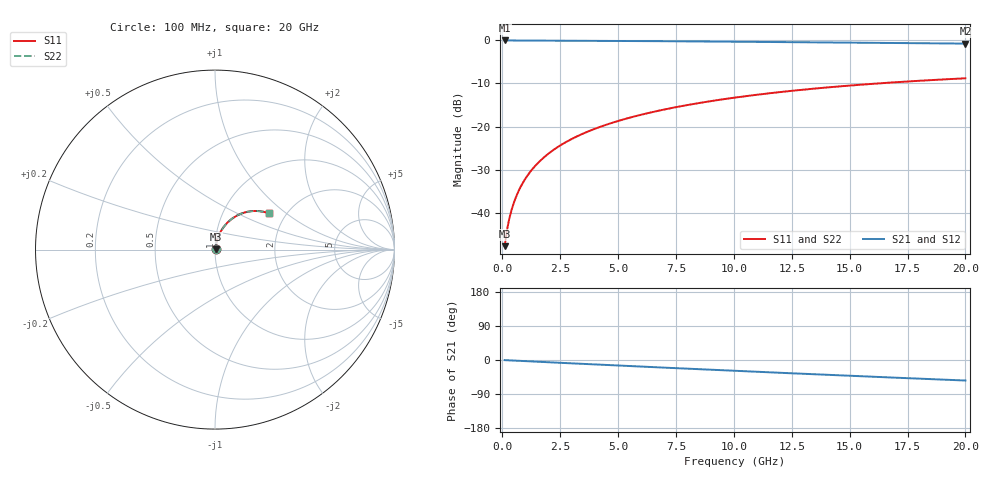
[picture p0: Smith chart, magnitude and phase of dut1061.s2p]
! Touchstone file exported from HFSS 2026.1.0
!  File:  C:/ffzhzh/LocalFiles/Ansys_Project_Files/temp_train_TMRDL_1061_1783160559_22436.aedt
!  Generated:  06:24:04 PM Jul  4, 2026
!  Design:  TMRDL
!  Project:  temp_train_TMRDL_1061_1783160559_22436
! Variables:
!  h_bsmrdl = 2um
!  h_ox = 20um
!  h_rdl = 5um
!  h_sub = 80um
!  h_tmrdl = 5.55um
!  h_tsv = 80um
!  h_via = 3um
!  l_bsmrdl = 300um
!  l_sub = 1297.97um
!  l_tmrdl = 897.97um
!  m_sub = 200um
!  pitch = 38.55um
!  r_tsv = 6um
!  s_tmrdl = 10um
!  w_bsmrdl = 18um
!  w_sub = 500um
!  w_tmrdl = 19.9um
!  x_tsv_center1 = 907.92um
!  x_tsv_center2 = 1225.92um
!  x_tsv_center3 = 2143.79um
!  x_tsv_center4 = 2461.79um
!  x_tsv_center5 = 3379.66um
!  x_tsv_center6 = 3697.66um
# GHz S MA R 50.000000
! Terminal data exported
! Port[1] = TM_RDL1_1_T1
! Port[2] = TM_RDL1_1_T2
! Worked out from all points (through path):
!   200 points, 100 MHz to 20 GHz, reference 50 ohm
!   highest |S21| = -0.03 dB at 100 MHz (marker M1); lowest = -0.8 dB at 20 GHz (marker M2)
!   group delay of S21, straight-line fit = 7.51 ps
!   lowest |S11| = -47.7 dB at 100 MHz (marker M3), VSWR 1.01, Z = 50.3 + j0.276 ohm
!   |S11| at or under -10 dB: start of sweep to 16.19 GHz
!   |S22| runs from -47.7 to -8.8 dB; largest |S21 - S12| = 1.6e-14
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0.1  0.004119 41.8  0.9969 -0.3  0.9969 -0.3  0.004119 41.8
! Gamma 0 0 0 0
! Port Impedance 50 0 50 0
0.2  0.006272 57.7  0.9967 -0.6  0.9967 -0.6  0.006272 57.7
0.3  0.008538 65.0  0.9965 -0.9  0.9965 -0.9  0.008538 65.0
0.4  0.01083 69.3  0.9963 -1.2  0.9963 -1.2  0.01083 69.3
0.5  0.01315 72.0  0.9962 -1.5  0.9962 -1.5  0.01315 72.0
0.6  0.0155 74.0  0.9961 -1.8  0.9961 -1.8  0.0155 74.0
0.8  0.02023 76.3  0.9959 -2.4  0.9959 -2.4  0.02023 76.3
1.1  0.02739 77.9  0.9955 -3.3  0.9955 -3.3  0.02739 77.9
1.5  0.03694 78.5  0.9948 -4.5  0.9948 -4.5  0.03694 78.5
1.8  0.04407 78.3  0.9942 -5.3  0.9942 -5.3  0.04407 78.3
2.1  0.05114 78.0  0.9935 -6.2  0.9935 -6.2  0.05114 78.0
2.7  0.0651 76.8  0.992 -8.0  0.992 -8.0  0.0651 76.8
3.5  0.08331 75.0  0.9897 -10.3  0.9897 -10.3  0.08332 75.0
4.2  0.09888 73.3  0.9874 -12.3  0.9874 -12.3  0.09888 73.3
5  0.1163 71.2  0.9847 -14.5  0.9847 -14.5  0.1163 71.2
5.9  0.1354 68.9  0.9814 -17.1  0.9814 -17.1  0.1354 68.9
6.8  0.154 66.6  0.978 -19.6  0.978 -19.6  0.154 66.6
8.3  0.1839 62.8  0.9718 -23.7  0.9718 -23.7  0.1839 62.8
10.1  0.218 58.2  0.9639 -28.6  0.9639 -28.6  0.218 58.2
13.4  0.2746 49.8  0.9482 -37.4  0.9482 -37.4  0.2747 49.8
16.7  0.3231 41.6  0.9321 -45.9  0.9321 -45.9  0.3232 41.6
20  0.3631 33.7  0.917 -54.2  0.917 -54.2  0.3631 33.7
